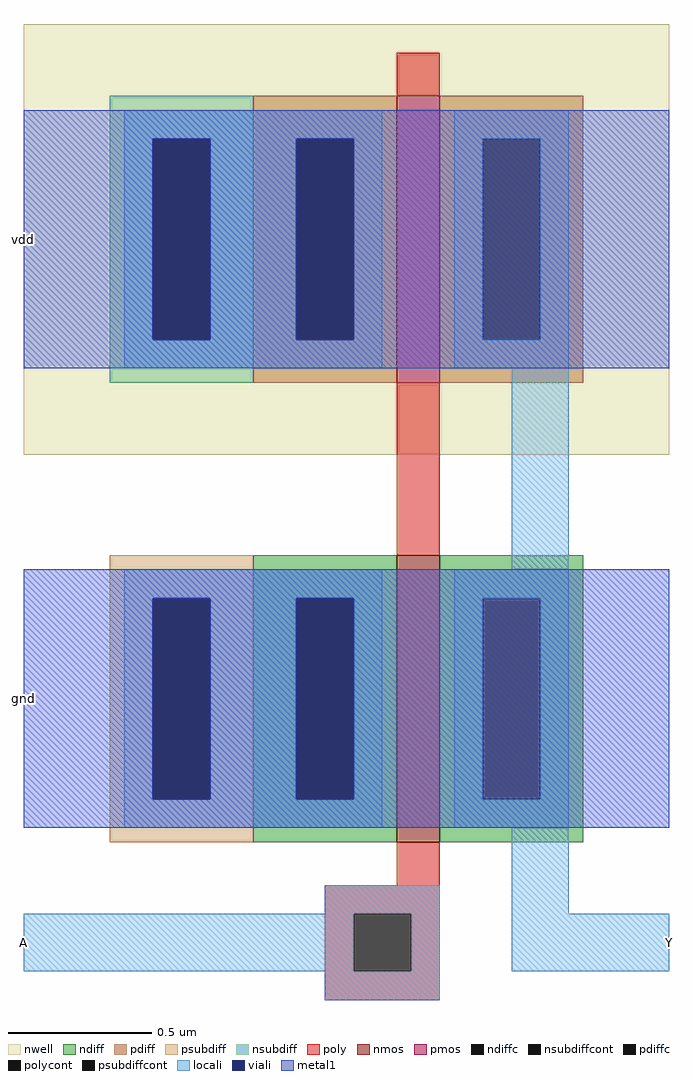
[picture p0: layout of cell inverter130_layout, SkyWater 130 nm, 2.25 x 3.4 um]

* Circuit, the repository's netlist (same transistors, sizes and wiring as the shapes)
* NGSPICE file created from inverter130_layout.ext - technology: sky130A

.subckt inverter130_layout A Y vdd gnd
X0 Y A gnd gnd sky130_fd_pr__nfet_01v8 ad=0.5 pd=3 as=0.5 ps=3 w=1 l=0.15
X1 Y A vdd vdd sky130_fd_pr__pfet_01v8 ad=0.5 pd=3 as=0.5 ps=3 w=1 l=0.15
.ends

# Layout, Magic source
magic
tech sky130A
<< nwell >>
rect -125 125 100 275
<< nmos >>
rect 5 -10 20 90
<< pmos >>
rect 5 150 20 250
<< ndiff >>
rect -45 75 5 90
rect -45 5 -30 75
rect -10 5 5 75
rect -45 -10 5 5
rect 20 75 70 90
rect 20 5 35 75
rect 55 5 70 75
rect 20 -10 70 5
<< pdiff >>
rect -45 235 5 250
rect -45 165 -30 235
rect -10 165 5 235
rect -45 150 5 165
rect 20 235 70 250
rect 20 165 35 235
rect 55 165 70 235
rect 20 150 70 165
<< ndiffc >>
rect -30 5 -10 75
rect 35 5 55 75
<< pdiffc >>
rect -30 165 -10 235
rect 35 165 55 235
<< psubdiff >>
rect -95 75 -45 90
rect -95 5 -80 75
rect -60 5 -45 75
rect -95 -10 -45 5
<< nsubdiff >>
rect -95 235 -45 250
rect -95 165 -80 235
rect -60 165 -45 235
rect -95 150 -45 165
<< psubdiffcont >>
rect -80 5 -60 75
<< nsubdiffcont >>
rect -80 165 -60 235
<< poly >>
rect 5 250 20 265
rect 5 90 20 150
rect 5 -25 20 -10
rect -20 -35 20 -25
rect -20 -55 -10 -35
rect 10 -55 20 -35
rect -20 -65 20 -55
<< polycont >>
rect -10 -55 10 -35
<< locali >>
rect -90 235 0 245
rect -90 165 -80 235
rect -60 165 -30 235
rect -10 165 0 235
rect -90 155 0 165
rect 25 235 65 245
rect 25 165 35 235
rect 55 165 65 235
rect 25 155 65 165
rect 45 85 65 155
rect -90 75 0 85
rect -90 5 -80 75
rect -60 5 -30 75
rect -10 5 0 75
rect -90 -5 0 5
rect 25 75 65 85
rect 25 5 35 75
rect 55 5 65 75
rect 25 -5 65 5
rect -20 -35 20 -25
rect -125 -55 -10 -35
rect 10 -55 20 -35
rect 45 -35 65 -5
rect 45 -55 100 -35
rect -20 -65 20 -55
<< viali >>
rect -80 165 -60 235
rect -30 165 -10 235
rect -80 5 -60 75
rect -30 5 -10 75
<< metal1 >>
rect -125 235 100 245
rect -125 165 -80 235
rect -60 165 -30 235
rect -10 165 100 235
rect -125 155 100 165
rect -125 75 100 85
rect -125 5 -80 75
rect -60 5 -30 75
rect -10 5 100 75
rect -125 -5 100 5
<< labels >>
rlabel locali -125 -45 -125 -45 7 A
port 1 w
rlabel locali 100 -45 100 -45 3 Y
port 2 e
rlabel metal1 -125 200 -125 200 7 vdd
port 3 w
rlabel metal1 -125 40 -125 40 7 gnd
port 4 w
<< end >>
